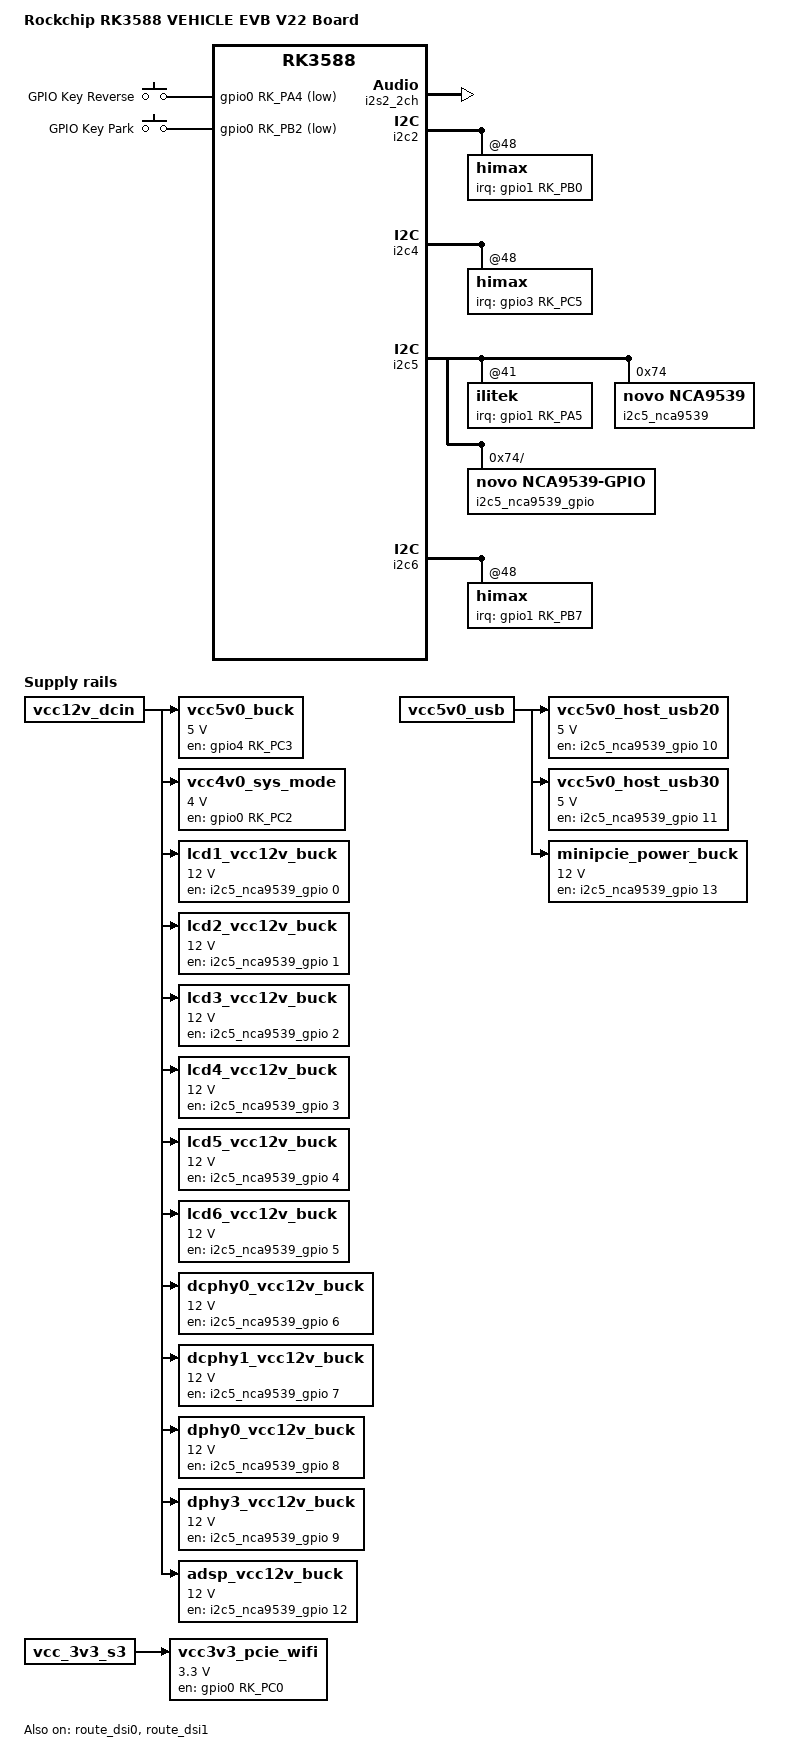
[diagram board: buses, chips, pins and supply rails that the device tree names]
// SPDX-License-Identifier: (GPL-2.0+ OR MIT)
/*
 * Copyright (c) 2023 Rockchip Electronics Co., Ltd.
 *
 */

/dts-v1/;

#include "rk3588-vehicle-evb-v21.dtsi"
#include "rk3588-vehicle-evb-maxim-max96712-dphy3.dtsi"
#include "rk3588-vehicle-serdes-mfd-display-rohm.dtsi"
#include "rk3588-android.dtsi"

/ {
	model = "Rockchip RK3588 VEHICLE EVB V22 Board";
	compatible = "rockchip,rk3588-vehicle-evb-v22", "rockchip,rk3588";

	vcc5v0_buck: vcc5v0-buck {
		compatible = "regulator-fixed";
		regulator-name = "vcc5v0_buck";
		regulator-boot-on;
		regulator-always-on;
		regulator-min-microvolt = <5000000>;
		regulator-max-microvolt = <5000000>;
		enable-active-high;
		gpio = <&gpio4 RK_PC3 GPIO_ACTIVE_HIGH>;
		vin-supply = <&vcc12v_dcin>;
		pinctrl-names = "default";
		pinctrl-0 = <&vcc5v0_buck_en>;
		startup-delay-us = <2500>;
		off-on-delay-us = <1500>;
		regulator-state-mem {
			regulator-on-in-suspend;
			regulator-suspend-microvolt = <5000000>;
		};
	};

	vcc4v0_sys_mode: vcc4v0-sys-mode {
		compatible = "regulator-fixed";
		regulator-name = "vcc4v0_sys_mode";
		regulator-boot-on;
		regulator-always-on;
		regulator-min-microvolt = <4000000>;
		regulator-max-microvolt = <4000000>;
		enable-active-high;
		gpio = <&gpio0 RK_PC2 GPIO_ACTIVE_LOW>;
		vin-supply = <&vcc12v_dcin>;
		pinctrl-names = "default";
		pinctrl-0 = <&vcc4v0_sys_mode_en>;
		regulator-state-mem {
			regulator-off-in-suspend;
			regulator-suspend-microvolt = <4000000>;
		};
	};

	lcd1_vcc12v_buck: lcd1_vcc12v-buck {
		compatible = "regulator-fixed";
		regulator-name = "lcd1_vcc12v_buck";
		regulator-boot-on;
		//regulator-always-on;
		regulator-min-microvolt = <12000000>;
		regulator-max-microvolt = <12000000>;
		enable-active-high;
		gpio = <&i2c5_nca9539_gpio 0 GPIO_ACTIVE_HIGH>;
		vin-supply = <&vcc12v_dcin>;
		regulator-state-mem {
			regulator-off-in-suspend;
			regulator-suspend-microvolt = <12000000>;
		};
	};

	lcd2_vcc12v_buck: lcd2_vcc12v-buck {
		compatible = "regulator-fixed";
		regulator-name = "lcd2_vcc12v_buck";
		regulator-boot-on;
		//regulator-always-on;
		regulator-min-microvolt = <12000000>;
		regulator-max-microvolt = <12000000>;
		enable-active-high;
		gpio = <&i2c5_nca9539_gpio 1 GPIO_ACTIVE_HIGH>;
		vin-supply = <&vcc12v_dcin>;
		regulator-state-mem {
			regulator-off-in-suspend;
			regulator-suspend-microvolt = <12000000>;
		};
	};

	lcd3_vcc12v_buck: lcd3_vcc12v-buck {
		compatible = "regulator-fixed";
		regulator-name = "lcd3_vcc12v_buck";
		regulator-boot-on;
		//regulator-always-on;
		regulator-min-microvolt = <12000000>;
		regulator-max-microvolt = <12000000>;
		enable-active-high;
		gpio = <&i2c5_nca9539_gpio 2 GPIO_ACTIVE_HIGH>;
		vin-supply = <&vcc12v_dcin>;
		regulator-state-mem {
			regulator-off-in-suspend;
			regulator-suspend-microvolt = <12000000>;
		};
	};

	lcd4_vcc12v_buck: lcd4_vcc12v-buck {
		compatible = "regulator-fixed";
		regulator-name = "lcd4_vcc12v_buck";
		regulator-boot-on;
		//regulator-always-on;
		regulator-min-microvolt = <12000000>;
		regulator-max-microvolt = <12000000>;
		enable-active-high;
		gpio = <&i2c5_nca9539_gpio 3 GPIO_ACTIVE_HIGH>;
		vin-supply = <&vcc12v_dcin>;
		regulator-state-mem {
			regulator-off-in-suspend;
			regulator-suspend-microvolt = <12000000>;
		};
	};

	lcd5_vcc12v_buck: lcd5_vcc12v-buck {
		compatible = "regulator-fixed";
		regulator-name = "lcd5_vcc12v_buck";
		regulator-boot-on;
		//regulator-always-on;
		regulator-min-microvolt = <12000000>;
		regulator-max-microvolt = <12000000>;
		enable-active-high;
		gpio = <&i2c5_nca9539_gpio 4 GPIO_ACTIVE_HIGH>;
		vin-supply = <&vcc12v_dcin>;
		regulator-state-mem {
			regulator-off-in-suspend;
			regulator-suspend-microvolt = <12000000>;
		};
	};

	lcd6_vcc12v_buck: lcd6_vcc12v-buck {
		compatible = "regulator-fixed";
		regulator-name = "lcd6_vcc12v_buck";
		regulator-boot-on;
		//regulator-always-on;
		regulator-min-microvolt = <12000000>;
		regulator-max-microvolt = <12000000>;
		enable-active-high;
		gpio = <&i2c5_nca9539_gpio 5 GPIO_ACTIVE_HIGH>;
		vin-supply = <&vcc12v_dcin>;
		regulator-state-mem {
			regulator-off-in-suspend;
			regulator-suspend-microvolt = <12000000>;
		};
	};

	dcphy0_vcc12v_buck: dcphy0_vcc12v-buck {
		compatible = "regulator-fixed";
		regulator-name = "dcphy0_vcc12v_buck";
		regulator-boot-on;
		regulator-min-microvolt = <12000000>;
		regulator-max-microvolt = <12000000>;
		enable-active-high;
		gpio = <&i2c5_nca9539_gpio 6 GPIO_ACTIVE_HIGH>;
		startup-delay-us = <2000>;
		off-on-delay-us = <16000>;
		vin-supply = <&vcc12v_dcin>;
		regulator-state-mem {
			regulator-off-in-suspend;
			regulator-suspend-microvolt = <12000000>;
		};
	};

	dcphy1_vcc12v_buck: dcphy1_vcc12v-buck {
		compatible = "regulator-fixed";
		regulator-name = "dcphy1_vcc12v_buck";
		regulator-boot-on;
		regulator-min-microvolt = <12000000>;
		regulator-max-microvolt = <12000000>;
		enable-active-high;
		gpio = <&i2c5_nca9539_gpio 7 GPIO_ACTIVE_HIGH>;
		startup-delay-us = <2000>;
		off-on-delay-us = <16000>;
		vin-supply = <&vcc12v_dcin>;
		regulator-state-mem {
			regulator-off-in-suspend;
			regulator-suspend-microvolt = <12000000>;
		};
	};

	dphy0_vcc12v_buck: dphy0_vcc12v-buck {
		compatible = "regulator-fixed";
		regulator-name = "dphy0_vcc12v_buck";
		regulator-boot-on;
		regulator-min-microvolt = <12000000>;
		regulator-max-microvolt = <12000000>;
		enable-active-high;
		gpio = <&i2c5_nca9539_gpio 8 GPIO_ACTIVE_HIGH>;
		startup-delay-us = <2000>;
		off-on-delay-us = <16000>;
		vin-supply = <&vcc12v_dcin>;
		regulator-state-mem {
			regulator-off-in-suspend;
			regulator-suspend-microvolt = <12000000>;
		};
	};

	dphy3_vcc12v_buck: dphy3_vcc12v-buck {
		compatible = "regulator-fixed";
		regulator-name = "dphy3_vcc12v_buck";
		regulator-boot-on;
		regulator-min-microvolt = <12000000>;
		regulator-max-microvolt = <12000000>;
		enable-active-high;
		gpio = <&i2c5_nca9539_gpio 9 GPIO_ACTIVE_HIGH>;
		startup-delay-us = <2000>;
		off-on-delay-us = <16000>;
		vin-supply = <&vcc12v_dcin>;
		regulator-state-mem {
			regulator-off-in-suspend;
			regulator-suspend-microvolt = <12000000>;
		};
	};

	vcc5v0_host_usb20: vcc5v0-host-usb20 {
		compatible = "regulator-fixed";
		regulator-name = "vcc5v0_host_usb20";
		regulator-boot-on;
		regulator-always-on;
		regulator-min-microvolt = <5000000>;
		regulator-max-microvolt = <5000000>;
		enable-active-high;
		gpio = <&i2c5_nca9539_gpio 10 GPIO_ACTIVE_HIGH>;
		startup-delay-us = <2000>;
		off-on-delay-us = <16000>;
		vin-supply = <&vcc5v0_usb>;
	};

	vcc5v0_host_usb30: vcc5v0-host-usb30 {
		compatible = "regulator-fixed";
		regulator-name = "vcc5v0_host_usb30";
		regulator-boot-on;
		regulator-always-on;
		regulator-min-microvolt = <5000000>;
		regulator-max-microvolt = <5000000>;
		enable-active-high;
		gpio = <&i2c5_nca9539_gpio 11 GPIO_ACTIVE_HIGH>;
		startup-delay-us = <2000>;
		off-on-delay-us = <16000>;
		vin-supply = <&vcc5v0_usb>;
	};

	adsp_vcc12v_buck: adsp_vcc12v-buck {
		compatible = "regulator-fixed";
		regulator-name = "adsp_vcc12v_buck";
		regulator-boot-on;
		regulator-always-on;
		regulator-min-microvolt = <12000000>;
		regulator-max-microvolt = <12000000>;
		enable-active-high;
		gpio = <&i2c5_nca9539_gpio 12 GPIO_ACTIVE_HIGH>;
		vin-supply = <&vcc12v_dcin>;
		regulator-state-mem {
			regulator-off-in-suspend;
			regulator-suspend-microvolt = <12000000>;
		};
	};

	minipcie_power_buck: minipcie_power-buck {
		compatible = "regulator-fixed";
		regulator-name = "minipcie_power_buck";
		regulator-boot-on;
		regulator-always-on;
		regulator-min-microvolt = <12000000>;
		regulator-max-microvolt = <12000000>;
		enable-active-high;
		gpio = <&i2c5_nca9539_gpio 13 GPIO_ACTIVE_HIGH>;
		vin-supply = <&vcc5v0_usb>;
		regulator-state-mem {
			regulator-off-in-suspend;
			regulator-suspend-microvolt = <12000000>;
		};
	};

	bt-sound {
		compatible = "simple-audio-card";
		simple-audio-card,format = "dsp_a";
		simple-audio-card,bitclock-inversion = <1>;
		simple-audio-card,mclk-fs = <256>;
		simple-audio-card,name = "rockchip,bt";
		simple-audio-card,cpu {
			sound-dai = <&i2s2_2ch>;
		};

		simple-audio-card,codec {
			sound-dai = <&bt_sco 1>;
		};
	};

	bt_sco: bt-sco {
		compatible = "delta,dfbmcs320";
		#sound-dai-cells = <1>;
		status = "okay";
	};
	gpio-keys {
		compatible = "gpio-keys";
		autorepeat;

		reverse {
			label = "GPIO Key Reverse";
			linux,code = <KEY_CAMERA_DOWN>;
			gpios = <&gpio0 RK_PA4 GPIO_ACTIVE_LOW>;
			debounce-interval = <100>;
		};

		park {
			label = "GPIO Key Park";
			linux,code = <KEY_CAMERA>;
			gpios = <&gpio0 RK_PB2 GPIO_ACTIVE_LOW>;
			debounce-interval = <100>;
		};
	};

	vcc3v3_pcie_wifi: vcc3v3-pcie-wifi {
		compatible = "regulator-fixed";
		regulator-name = "vcc3v3_pcie_wifi";
		regulator-always-on;
		regulator-min-microvolt = <3300000>;
		regulator-max-microvolt = <3300000>;
		enable-active-high;
		gpios = <&gpio0 RK_PC0 GPIO_ACTIVE_HIGH>;
		startup-delay-us = <5000>;
		vin-supply = <&vcc_3v3_s3>;
	};

	wireless_bluetooth: wireless-bluetooth {
		BT,reset_gpio = <&gpio0 RK_PD1 GPIO_ACTIVE_HIGH>;
		status = "okay";
	};

	wireless_wlan: wireless-wlan {
		WIFI,poweren_gpio = <&gpio0 RK_PC0 GPIO_ACTIVE_HIGH>;
		status = "okay";
	};
};

&max96712_dphy3_vcc1v2 {
	vin-supply = <&vcc5v0_buck>;
};

&max96712_dphy3_poc {
	vin-supply = <&dphy3_vcc12v_buck>;
};

&avdd1v8_ddr_pll_s0 {
	regulator-state-mem {
		regulator-on-in-suspend;
		regulator-suspend-microvolt = <1800000>;
	};
};

&i2s2_2ch {
	pinctrl-0 = <&i2s2m1_lrck
		     &i2s2m1_sclk
		     &i2s2m1_sdi
		     &i2s2m1_sdo>;
	status = "okay";
};

&i2c2 {
	himax@48 {
		himax,irq-gpio = <&gpio1 RK_PB0 IRQ_TYPE_EDGE_FALLING>;
	};
};

&i2c2_bu18tl82 {
	route-enable;
	//use-delay-work;
};

&i2c2_bu18rl82 {
	//use-delay-work;
	vpower-supply = <&lcd1_vcc12v_buck>;
};

&i2c4 {
	himax@48 {
		himax,irq-gpio = <&gpio3 RK_PC5 IRQ_TYPE_EDGE_FALLING>;
	};
};

&i2c4_bu18tl82 {
	//use-delay-work;
};

&i2c4_bu18rl82 {
	//use-delay-work;
	vpower-supply = <&lcd5_vcc12v_buck>;
};

&i2c5 {
	ilitek@41 {
		interrupt-parent = <&gpio1>;
		interrupts = <RK_PA5 IRQ_TYPE_LEVEL_LOW>;
	};

	i2c5_nca9539: i2c5-nca9539@74 {
		compatible = "novo,nca9539";
		reg = <0x74>;
		status = "okay";

		/* P00-P07 P10-P17 output HIGH level default*/
		serdes-init-sequence = [
			0002 00ff
			0003 00ff
			0004 0000
			0005 0000
			0006 0000
			0007 0000
		];

		i2c5_nca9539_pinctrl: i2c5-nca9539-pinctrl {
			compatible = "novo,nca9539-pinctrl";
			status = "okay";

			i2c5_nca9539_gpio: i2c5-nca9539-gpio {
				compatible = "novo,nca9539-gpio";
				status = "okay";

				gpio-controller;
				#gpio-cells = <2>;
				gpio-ranges = <&i2c5_nca9539_pinctrl 0 256 16>;
			};
		};
	};
};

&i2c5_bu18tl82 {
	//use-delay-work;
};

&i2c5_bu18rl82 {
	//use-delay-work;
	vpower-supply = <&lcd3_vcc12v_buck>;
};

&i2c6 {
	himax@48 {
		himax,irq-gpio = <&gpio1 RK_PB7 IRQ_TYPE_EDGE_FALLING>;
	};
};

&i2c6_bu18tl82 {
	route-enable;
	//use-delay-work;
};

&i2c6_bu18rl82 {
	use-delay-work;
	vpower-supply = <&lcd2_vcc12v_buck>;
};

&pinctrl {

	bl {
		bl0_enable_pin: bl0-enable-pin {
			rockchip,pins =
				<1 RK_PA7 RK_FUNC_GPIO &pcfg_pull_none>,
				<4 RK_PD2 RK_FUNC_GPIO &pcfg_pull_none>,
				<4 RK_PD3 RK_FUNC_GPIO &pcfg_pull_none>;

		};

		bl1_enable_pin: bl1-enable-pin {
			rockchip,pins = <1 RK_PB6 RK_FUNC_GPIO &pcfg_pull_none>;
		};

		bl2_enable_pin: bl2-enable-pin {
			rockchip,pins = <3 RK_PC4 RK_FUNC_GPIO &pcfg_pull_none>;
		};

		bl3_enable_pin: bl3-enable-pin {
			rockchip,pins = <3 RK_PC6 RK_FUNC_GPIO &pcfg_pull_none>;
		};

		bl4_enable_pin: bl4-enable-pin {
			rockchip,pins = <0 RK_PD5 RK_FUNC_GPIO &pcfg_pull_none>;
		};

		bl5_enable_pin: bl5-enable-pin {
			rockchip,pins = <1 RK_PA6 RK_FUNC_GPIO &pcfg_pull_none>;
		};
	};

	max96712-dphy3 {
		max96712_dphy3_pwdn: max96712-dphy3-pwdn {
			rockchip,pins = <4 RK_PA6 RK_FUNC_GPIO &pcfg_pull_up>;
		};

		max96712_dphy3_errb: max96712-dphy3-errb {
			rockchip,pins = <1 RK_PB1 RK_FUNC_GPIO &pcfg_pull_up>;
		};

		max96712_dphy3_lock: max96712-dphy3-lock {
			rockchip,pins = <4 RK_PA3 RK_FUNC_GPIO &pcfg_pull_up>;
		};
	};

	touch {
		//dsi0-i2c2
		touch_gpio_dsi0: touch-gpio-dsi0 {
			rockchip,pins =
				<1 RK_PB0 RK_FUNC_GPIO &pcfg_pull_up>;  //RST->V22 INT
		};
		//dsi1-i2c6
		touch_gpio_dsi1: touch-gpio-dsi1 {
			rockchip,pins =
				<1 RK_PB7 RK_FUNC_GPIO &pcfg_pull_up>;  //RST->V22 INT
		};
		//dp0-i2c4
		touch_gpio_dp0: touch-gpio-dp0 {
			rockchip,pins = <3 RK_PC5 RK_FUNC_GPIO &pcfg_pull_up>;
		};
		//edp0-i2c5
		touch_gpio_edp0: touch-gpio-edp0 {
			rockchip,pins =
				<1 RK_PA5 RK_FUNC_GPIO &pcfg_pull_up>;  //RST->V22 INT
		};
	};

	vcc5v0-buck {
		vcc5v0_buck_en: vcc5v0-buck-en {
			rockchip,pins = <4 RK_PC3 RK_FUNC_GPIO &pcfg_pull_none>;
		};
	};

	vcc4v0-mode {
		vcc4v0_sys_mode_en: vcc4v0-sys-mode-en {
			rockchip,pins = <0 RK_PC2 RK_FUNC_GPIO &pcfg_pull_none>;
		};
	};

	wireless-bluetooth {
		bt_reset_gpio: bt-reset-gpio {
			rockchip,pins = <0 RK_PD1 RK_FUNC_GPIO &pcfg_pull_none>;
		};
	};
};

&rockchip_suspend {
	rockchip,sleep-mode-config = <
		(0
		| RKPM_SLP_ARMOFF_DDRPD
		| RKPM_SLP_PMU_PMUALIVE_32K
		| RKPM_SLP_PMU_DIS_OSC
		| RKPM_SLP_32K_EXT
		)
	>;
	rockchip,wakeup-config = <
		(0
		| RKPM_CPU0_WKUP_EN
		| RKPM_GPIO_WKUP_EN
		)
	>;
	status = "okay";
};

&route_dsi0 {
	status = "okay";
};

&route_dsi1 {
	status = "okay";
};

&u2phy1_otg {
	phy-supply = <&vcc5v0_host_usb20>;
};

&u2phy2_host {
	phy-supply = <&vcc5v0_host_usb20>;
};

&u2phy3_host {
	phy-supply = <&vcc5v0_host_usb30>;
};

&vdd_log_s0 {
	regulator-state-mem {
		regulator-on-in-suspend;
		regulator-suspend-microvolt = <800000>;
	};
};

&vcc_3v3_s0 {
	regulator-state-mem {
		regulator-on-in-suspend;
		regulator-suspend-microvolt = <3300000>;
	};
};

&vcc_1v8_s0 {
	regulator-state-mem {
		regulator-on-in-suspend;
		regulator-suspend-microvolt = <1800000>;
	};
};

&vdd_1v8_pll_s0 {
		regulator-on-in-suspend;
		regulator-suspend-microvolt = <1800000>;
};

&vcc5v0_host {
	status = "disabled";
};

